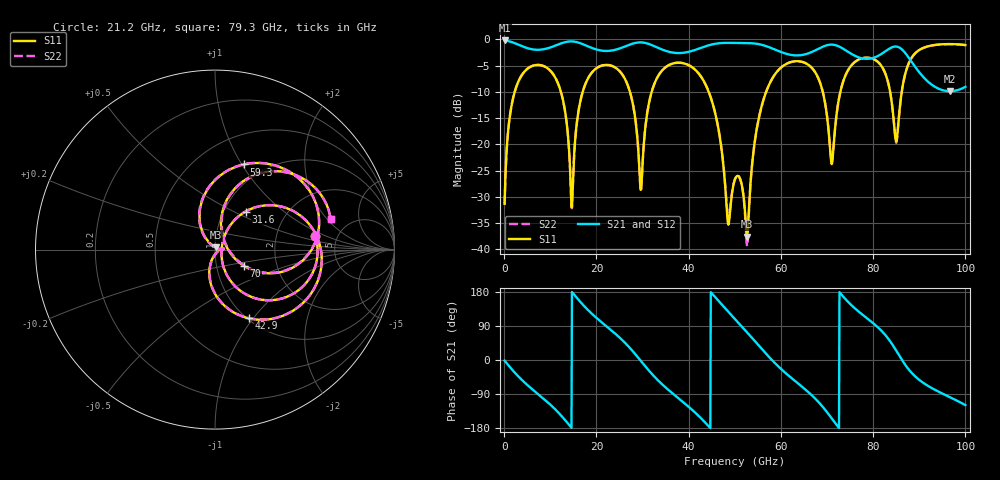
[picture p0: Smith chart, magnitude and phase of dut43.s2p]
! Touchstone file exported from HFSS 2026.1.0
!  File:  C:/ffzhzh/LocalFiles/Ansys_Project_Files/temp_train_TSV_RDL_43_1783443483_41684.aedt
!  Generated:  01:16:44 AM Jul  8, 2026
!  Design:  TSV_RDL
!  Project:  temp_train_TSV_RDL_43_1783443483_41684
! Variables:
!  h_bsmrdl = 2.41um
!  h_ox = 20um
!  h_rdl = 5um
!  h_sub = 78.75um
!  h_tmrdl = 3.36um
!  h_tsv = 78.75um
!  h_via = 3um
!  l_bsmrdl = 577.1um
!  l_sub = 4137.67um
!  l_tmrdl = 466.65um
!  m_sub = 200um
!  pitch = 56.3um
!  r_tsv = 8.51um
!  s_tmrdl = 10um
!  w_bsmrdl = 19.88um
!  w_sub = 500um
!  w_tmrdl = 26.71um
!  x_tsv_center1 = 480.005um
!  x_tsv_center2 = 1076.985um
!  x_tsv_center3 = 1570.345um
!  x_tsv_center4 = 2167.325um
!  x_tsv_center5 = 2660.685um
!  x_tsv_center6 = 3257.665um
# GHz S MA R 50.000000
! Terminal data exported
! Port[1] = TM_RDL1_1_T1
! Port[2] = TM_RDL5_1_T1
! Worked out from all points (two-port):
!   1000 points, 100 MHz to 100 GHz, reference 50 ohm
!   highest |S21| = -0.19 dB at 100 MHz (marker M1); lowest = -9.9 dB at 96.6 GHz (marker M2)
!   |S21| within 3 dB of the highest: start of sweep to 76.23 GHz; 80.93 GHz to 87.48 GHz (6.552 GHz wide, 7.78 % of centre)
!   lowest |S11| = -37.6 dB at 52.7 GHz (marker M3), VSWR 1.03, Z = 50.4 + j1.26 ohm
!   |S11| at or under -10 dB: 12.31 GHz to 17.03 GHz (4.717 GHz wide, 32.2 % of centre); 27.28 GHz to 31.98 GHz (4.705 GHz wide, 15.9 % of centre); 44.36 GHz to 56.79 GHz (12.44 GHz wide, 24.6 % of centre)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
!   |S22| runs from -39.4 to -0.9 dB; largest |S21 - S12| = 1.8e-12
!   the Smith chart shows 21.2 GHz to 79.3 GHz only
!   S11 on the Smith chart (normalised r, x): 21.2 GHz: 3.42, +0.73; 31.6 GHz: 1.26, +0.58; 42.9 GHz: 1.02, -0.95; 59.3 GHz: 0.81, +1.02; 70 GHz: 1.36, -0.26; 79.3 GHz: 3.59, +2.18
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0.1  0.02708 36.0  0.9784 -1.6  0.9784 -1.6  0.02708 36.0
! Gamma 0 0 0 0
! Port Impedance 50 0 50 0
2.7  0.3604 47.4  0.9065 -38.5  0.9065 -38.5  0.3604 47.4
9.3  0.5353 -20.6  0.8205 -109.9  0.8205 -109.9  0.5354 -20.6
14.6  0.02548 -18.9  0.9582 -178.9  0.9582 -178.9  0.02508 -19.3
16.8  0.2911 54.1  0.911 149.5  0.911 149.5  0.291 54.1
21.2  0.5641 7.5  0.7821 98.9  0.7821 98.9  0.5641 7.5
29.6  0.03676 -11.1  0.9376 -1.9  0.9376 -1.9  0.03608 -11.3
31.6  0.2723 51.2  0.8985 -30.9  0.8985 -30.9  0.2721 51.4
33.4  0.4494 31.7  0.8313 -54.2  0.8313 -54.2  0.4493 31.9
42.9  0.4275 -63.7  0.8382 -156.4  0.8382 -156.4  0.4275 -63.5
48.5  0.01789 -61.7  0.9281 128.6  0.9281 128.6  0.01973 -60.2
50.1  0.04703 8.5  0.9268 107.3  0.9268 107.3  0.04754 6.1
52.7  0.01316 71.6  0.9242 72.6  0.9242 72.6  0.01069 70.4
59.3  0.5016 71.1  0.7813 -15.3  0.7813 -15.3  0.5012 71.5
66.7  0.5362 -0.4  0.7597 -93.1  0.7597 -93.1  0.5362 -0.1
70  0.1857 -29.3  0.8818 -137.7  0.8818 -137.7  0.1865 -28.4
79.3  0.6661 14.7  0.6563 104.1  0.6563 104.1  0.6662 14.6
83.4  0.3642 -23.5  0.8116 54.2  0.8116 54.2  0.3639 -23.8
85.1  0.1093 33.4  0.8552 22.8  0.8552 22.8  0.1066 33.6
88.3  0.664 48.6  0.6159 -33.3  0.6159 -33.3  0.6635 48.8
96.6  0.9034 -8.4  0.3212 -97.9  0.3212 -97.9  0.9031 -8.3
100  0.8838 -27.4  0.3539 -119.1  0.3539 -119.1  0.8836 -27.2
